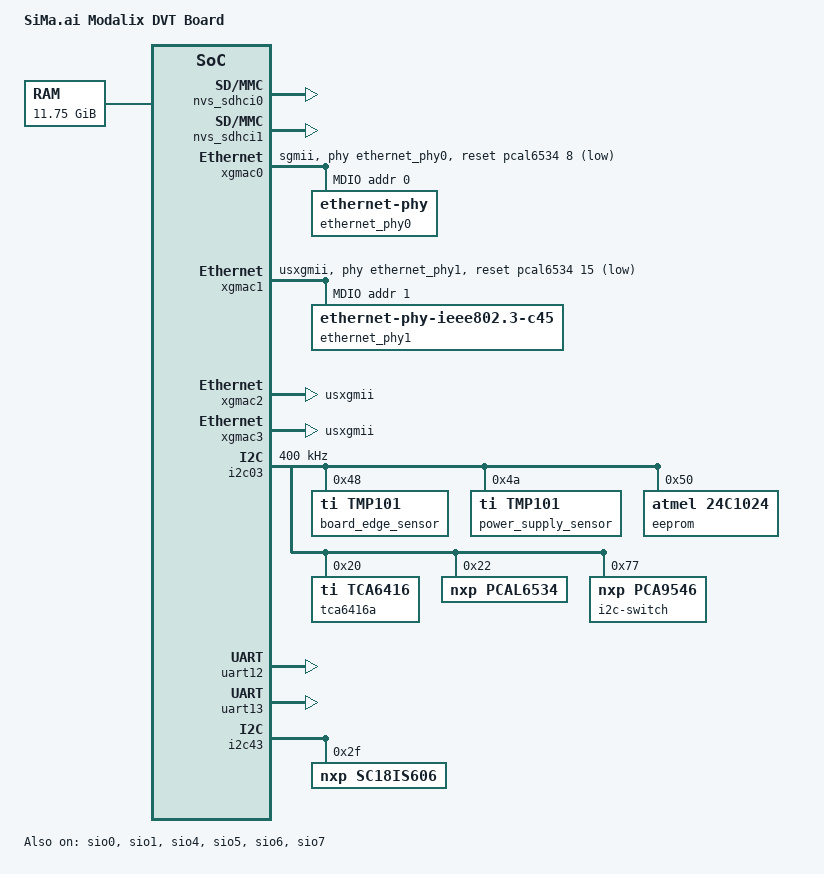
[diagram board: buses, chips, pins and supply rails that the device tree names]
// SPDX-License-Identifier: (GPL-2.0+ OR MIT)
/*
 * Copyright (c) 2024 SiMa ai
 */

/dts-v1/;

#include "modalix.dtsi"

/ {
	model = "SiMa.ai Modalix DVT Board";

	chosen {
		bootargs = "console=ttyS0,115200n8 root=/dev/ram0 rw rootfstype=ramfs uio_pdrv_genirq.of_id=generic-uio";
		linux,initrd-start = <0x11 0x88000000>;
		linux,initrd-end = <0x11 0x89400000>;
	};

	aliases {
		console = &uart12;
		mmc0 = &nvs_sdhci0;
		mmc1 = &nvs_sdhci1;
	};

	memory@1000000000 {
		device_type = "memory";
		reg = < 0x00000010 0x00000000 0x00000000 0x6FC00000
				0x00000011 0x80000000 0x00000002 0x80000000>;
	};

	thermal-zones {
		board {
			polling-delay = <30000>;
			polling-delay-passive = <5000>;
			thermal-sensors = <&board_edge_sensor>, <&power_supply_sensor>;

			trips {
				board_alert: board-alert {
					temperature = <50000>;
					hysteresis = <3000>;
					type = "active";
				};
				board_crit: board-crit {
					temperature = <70000>;
					hysteresis = <2000>;
					type = "critical";
				};
			};

			cooling-maps {
				map0 {
					trip = <&board_alert>;
				};
				map1 {
					trip = <&board_crit>;
				};
			};
		};
	};

	ptp_clk: ptpclk {
		compatible = "fixed-clock";
		#clock-cells = <0>;
		clock-frequency = <100000000>;
		clock-output-names = "ptpclk";
	};
};

&nvs_sdhci0 {
	status = "okay";
};

&nvs_sdhci1 {
	status = "okay";
};

&sio0 {
	status = "okay";
};

&sio1 {
	status = "okay";
};

&sio4 {
	status = "okay";
};

&sio5 {
	status = "okay";
};

&gpio50 {
	pinctrl-0 = <&pins_gpio50_deafult>, <&pins_gpio51_deafult>,
		    <&pins_gpio52_deafult>, <&pins_gpio53_deafult>,
		    <&pins_gpio54_deafult>, <&pins_gpio55_deafult>,
		    <&pins_gpio56_deafult>, <&pins_gpio57_deafult>;
	pinctrl-names = "default";
	status = "okay";
};

&sio6 {
	status = "okay";
};

&gpio60 {
	pinctrl-0 = <&pins_gpio60_deafult>, <&pins_gpio61_deafult>,
		    <&pins_gpio62_deafult>, <&pins_gpio63_deafult>,
		    <&pins_gpio64_deafult>, <&pins_gpio65_deafult>,
		    <&pins_gpio66_deafult>, <&pins_gpio67_deafult>;
	pinctrl-names = "default";
	status = "okay";
};

&sio7 {
	status = "okay";
};

&gpio70 {
	pinctrl-0 = <&pins_gpio70_deafult>, <&pins_gpio71_deafult>,
		    <&pins_gpio72_deafult>, <&pins_gpio73_deafult>,
		    <&pins_gpio74_deafult>, <&pins_gpio75_deafult>,
		    <&pins_gpio76_deafult>, <&pins_gpio77_deafult>;
	pinctrl-names = "default";
	status = "okay";
};

&xgmac0 {
	clocks = <&eth_clk>, <&ptp_clk>;
	clock-names = "stmmaceth", "ptp_ref";

	phy-mode = "sgmii";
	managed = "in-band-status";
	snps,ps-speed = <1000>;
	snps,reset-gpio = <&pcal6534 8 GPIO_ACTIVE_LOW>;
	snps,reset-active-low;
	snps,reset-delays-us = <0 50000 50000>;
	phy-handle = <&ethernet_phy0>;
	status = "okay";
	mdio0 {
		compatible = "snps,dwmac-mdio";
		#address-cells = <1>;
		#size-cells = <0>;

		ethernet_phy0: ethernet-phy@0 {
			reg = <0>;
		};
	};
};

&xgmac1 {
	clocks = <&eth_clk>, <&ptp_clk>;
	clock-names = "stmmaceth", "ptp_ref";

	phy-mode = "usxgmii";
	managed = "in-band-status";
	snps,reset-gpio = <&pcal6534 15 GPIO_ACTIVE_LOW>;
	snps,reset-active-low;
	snps,reset-delays-us = <0 50000 50000>;
	phy-handle = <&ethernet_phy1>;
	status = "okay";
	mdio1 {
		compatible = "snps,dwmac-mdio";
		#address-cells = <1>;
		#size-cells = <0>;

		ethernet_phy1: ethernet-phy@1 {
			compatible = "ethernet-phy-ieee802.3-c45";
			reg = <1>;
		};
	};
};

&xgmac2 {
	clocks = <&eth_clk>, <&ptp_clk>;
	clock-names = "stmmaceth", "ptp_ref";
	interrupts = <GIC_SPI 142 IRQ_TYPE_LEVEL_HIGH>;
	interrupt-names = "macirq";

	phy-mode = "usxgmii";
	managed = "in-band-status";
	status = "okay";
};

&xgmac3 {
	clocks = <&eth_clk>, <&ptp_clk>;
	clock-names = "stmmaceth", "ptp_ref";
	interrupts = <GIC_SPI 148 IRQ_TYPE_LEVEL_HIGH>;
	interrupt-names = "macirq";

	phy-mode = "usxgmii";
	managed = "in-band-status";
	status = "okay";
};

&i2c03 {
	status = "okay";
	clock-frequency = <400000>;

	board_edge_sensor: sensor@48 {
		compatible = "ti,tmp101";
		reg = <0x48>;
		#thermal-sensor-cells = <0>;
	};

	power_supply_sensor: sensor@4A {
		compatible = "ti,tmp101";
		reg = <0x4A>;
		#thermal-sensor-cells = <0>;
	};

	eeprom@50 {
		compatible = "atmel,24c1024";
		reg = <0x50>;
		pagesize = <256>;
	};

	tca6416a: gpio@20 {
		compatible = "ti,tca6416";
		reg = <0x20>;
		gpio-controller;
		#gpio-cells = <2>;
	};

	pcal6534: gpio@22 {
		compatible = "nxp,pcal6534";
		reg = <0x22>;
		gpio-controller;
		#gpio-cells = <2>;
	};

	i2c-switch@77 {
		compatible = "nxp,pca9546";
		reg = <0x77>;
		#address-cells = <1>;
		#size-cells = <0>;
	};
};

&uart12 {
	status = "okay";
};

&uart13 {
	status = "okay";
};

&sio10_clk {
	simaai,ignore-unused = <0x200>;
};

&i2c43 {
	status = "okay";

	sc18is606@2f {
		compatible = "nxp,sc18is606";
		reg = <0x2f>;
		#address-cells = <1>;
		#size-cells = <0>;
	};
};

&pcie0_ep {
	status = "okay";
};
